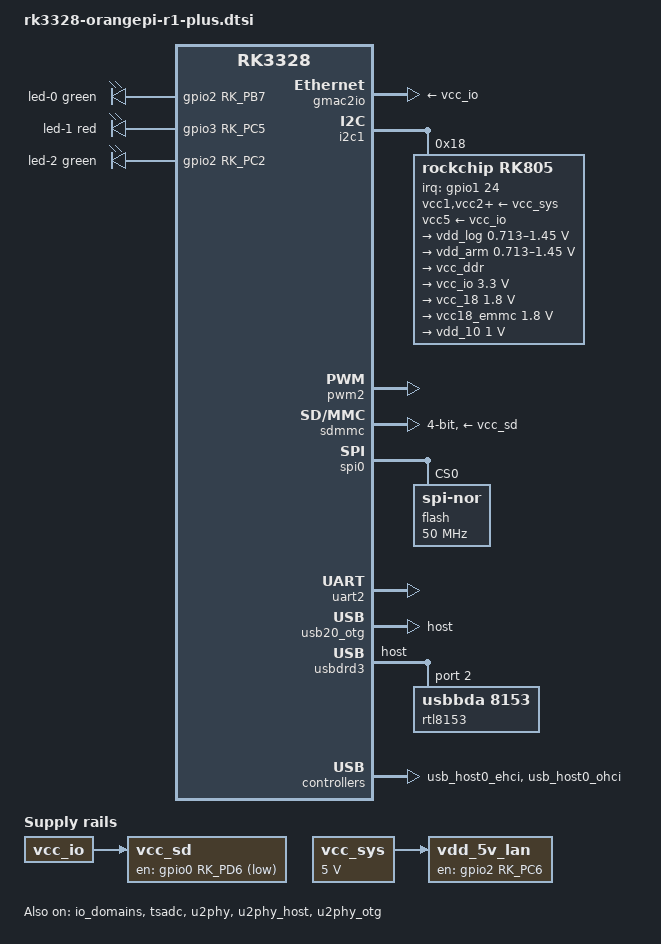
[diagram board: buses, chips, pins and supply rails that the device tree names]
// SPDX-License-Identifier: (GPL-2.0+ OR MIT)
/*
 * Based on rk3328-nanopi-r2s.dts, which is:
 *   Copyright (c) 2020 David Bauer <mail@david-bauer.net>
 */

/dts-v1/;

#include <dt-bindings/gpio/gpio.h>
#include <dt-bindings/leds/common.h>
#include "rk3328.dtsi"

/ {
	aliases {
		ethernet0 = &gmac2io;
		ethernet1 = &rtl8153;
		mmc0 = &sdmmc;
	};

	chosen {
		stdout-path = "serial2:1500000n8";
	};

	gmac_clk: gmac-clock {
		compatible = "fixed-clock";
		clock-frequency = <125000000>;
		clock-output-names = "gmac_clkin";
		#clock-cells = <0>;
	};

	leds {
		compatible = "gpio-leds";
		pinctrl-0 = <&lan_led_pin>, <&sys_led_pin>, <&wan_led_pin>;
		pinctrl-names = "default";

		led-0 {
			function = LED_FUNCTION_LAN;
			color = <LED_COLOR_ID_GREEN>;
			gpios = <&gpio2 RK_PB7 GPIO_ACTIVE_HIGH>;
		};

		led-1 {
			function = LED_FUNCTION_STATUS;
			color = <LED_COLOR_ID_RED>;
			gpios = <&gpio3 RK_PC5 GPIO_ACTIVE_HIGH>;
			linux,default-trigger = "heartbeat";
		};

		led-2 {
			function = LED_FUNCTION_WAN;
			color = <LED_COLOR_ID_GREEN>;
			gpios = <&gpio2 RK_PC2 GPIO_ACTIVE_HIGH>;
		};
	};

	vcc_sd: regulator-sdmmc {
		compatible = "regulator-fixed";
		gpio = <&gpio0 RK_PD6 GPIO_ACTIVE_LOW>;
		pinctrl-0 = <&sdmmc0m1_pin>;
		pinctrl-names = "default";
		regulator-name = "vcc_sd";
		regulator-boot-on;
		vin-supply = <&vcc_io>;
	};

	vcc_sys: regulator-vcc-sys {
		compatible = "regulator-fixed";
		regulator-name = "vcc_sys";
		regulator-always-on;
		regulator-boot-on;
		regulator-min-microvolt = <5000000>;
		regulator-max-microvolt = <5000000>;
	};

	vdd_5v_lan: regulator-vdd-5v-lan {
		compatible = "regulator-fixed";
		enable-active-high;
		gpio = <&gpio2 RK_PC6 GPIO_ACTIVE_HIGH>;
		pinctrl-0 = <&lan_vdd_pin>;
		pinctrl-names = "default";
		regulator-name = "vdd_5v_lan";
		regulator-always-on;
		regulator-boot-on;
		vin-supply = <&vcc_sys>;
	};
};

&cpu0 {
	cpu-supply = <&vdd_arm>;
};

&cpu1 {
	cpu-supply = <&vdd_arm>;
};

&cpu2 {
	cpu-supply = <&vdd_arm>;
};

&cpu3 {
	cpu-supply = <&vdd_arm>;
};

&display_subsystem {
	status = "disabled";
};

&gmac2io {
	assigned-clocks = <&cru SCLK_MAC2IO>, <&cru SCLK_MAC2IO_EXT>;
	assigned-clock-parents = <&gmac_clk>, <&gmac_clk>;
	clock_in_out = "input";
	phy-supply = <&vcc_io>;
	pinctrl-0 = <&rgmiim1_pins>;
	pinctrl-names = "default";

	mdio {
		compatible = "snps,dwmac-mdio";
		#address-cells = <1>;
		#size-cells = <0>;
	};
};

&i2c1 {
	status = "okay";

	rk805: pmic@18 {
		compatible = "rockchip,rk805";
		reg = <0x18>;
		interrupt-parent = <&gpio1>;
		interrupts = <24 IRQ_TYPE_LEVEL_LOW>;
		#clock-cells = <1>;
		clock-output-names = "xin32k", "rk805-clkout2";
		gpio-controller;
		#gpio-cells = <2>;
		pinctrl-0 = <&pmic_int_l>;
		pinctrl-names = "default";
		system-power-controller;
		wakeup-source;

		vcc1-supply = <&vcc_sys>;
		vcc2-supply = <&vcc_sys>;
		vcc3-supply = <&vcc_sys>;
		vcc4-supply = <&vcc_sys>;
		vcc5-supply = <&vcc_io>;
		vcc6-supply = <&vcc_sys>;

		regulators {
			vdd_log: DCDC_REG1 {
				regulator-name = "vdd_log";
				regulator-always-on;
				regulator-boot-on;
				regulator-min-microvolt = <712500>;
				regulator-max-microvolt = <1450000>;
				regulator-ramp-delay = <12500>;

				regulator-state-mem {
					regulator-on-in-suspend;
					regulator-suspend-microvolt = <1000000>;
				};
			};

			vdd_arm: DCDC_REG2 {
				regulator-name = "vdd_arm";
				regulator-always-on;
				regulator-boot-on;
				regulator-min-microvolt = <712500>;
				regulator-max-microvolt = <1450000>;
				regulator-ramp-delay = <12500>;

				regulator-state-mem {
					regulator-on-in-suspend;
					regulator-suspend-microvolt = <950000>;
				};
			};

			vcc_ddr: DCDC_REG3 {
				regulator-name = "vcc_ddr";
				regulator-always-on;
				regulator-boot-on;

				regulator-state-mem {
					regulator-on-in-suspend;
				};
			};

			vcc_io: DCDC_REG4 {
				regulator-name = "vcc_io";
				regulator-always-on;
				regulator-boot-on;
				regulator-min-microvolt = <3300000>;
				regulator-max-microvolt = <3300000>;

				regulator-state-mem {
					regulator-on-in-suspend;
					regulator-suspend-microvolt = <3300000>;
				};
			};

			vcc_18: LDO_REG1 {
				regulator-name = "vcc_18";
				regulator-always-on;
				regulator-boot-on;
				regulator-min-microvolt = <1800000>;
				regulator-max-microvolt = <1800000>;

				regulator-state-mem {
					regulator-on-in-suspend;
					regulator-suspend-microvolt = <1800000>;
				};
			};

			vcc18_emmc: LDO_REG2 {
				regulator-name = "vcc18_emmc";
				regulator-always-on;
				regulator-boot-on;
				regulator-min-microvolt = <1800000>;
				regulator-max-microvolt = <1800000>;

				regulator-state-mem {
					regulator-on-in-suspend;
					regulator-suspend-microvolt = <1800000>;
				};
			};

			vdd_10: LDO_REG3 {
				regulator-name = "vdd_10";
				regulator-always-on;
				regulator-boot-on;
				regulator-min-microvolt = <1000000>;
				regulator-max-microvolt = <1000000>;

				regulator-state-mem {
					regulator-on-in-suspend;
					regulator-suspend-microvolt = <1000000>;
				};
			};
		};
	};
};

&io_domains {
	pmuio-supply = <&vcc_io>;
	vccio1-supply = <&vcc_io>;
	vccio2-supply = <&vcc18_emmc>;
	vccio3-supply = <&vcc_io>;
	vccio4-supply = <&vcc_io>;
	vccio5-supply = <&vcc_io>;
	vccio6-supply = <&vcc_io>;
	status = "okay";
};

&pinctrl {
	gmac2io {
		eth_phy_reset_pin: eth-phy-reset-pin {
			rockchip,pins = <1 RK_PC2 RK_FUNC_GPIO &pcfg_pull_down>;
		};
	};

	leds {
		lan_led_pin: lan-led-pin {
			rockchip,pins = <2 RK_PB7 RK_FUNC_GPIO &pcfg_pull_none>;
		};

		sys_led_pin: sys-led-pin {
			rockchip,pins = <3 RK_PC5 RK_FUNC_GPIO &pcfg_pull_none>;
		};

		wan_led_pin: wan-led-pin {
			rockchip,pins = <2 RK_PC2 RK_FUNC_GPIO &pcfg_pull_none>;
		};
	};

	lan {
		lan_vdd_pin: lan-vdd-pin {
			rockchip,pins = <2 RK_PC6 RK_FUNC_GPIO &pcfg_pull_none>;
		};
	};

	pmic {
		pmic_int_l: pmic-int-l {
			rockchip,pins = <1 RK_PD0 RK_FUNC_GPIO &pcfg_pull_up>;
		};
	};
};

&pwm2 {
	status = "okay";
};

&sdmmc {
	bus-width = <4>;
	cap-sd-highspeed;
	disable-wp;
	pinctrl-0 = <&sdmmc0_clk>, <&sdmmc0_cmd>, <&sdmmc0_dectn>, <&sdmmc0_bus4>;
	pinctrl-names = "default";
	vmmc-supply = <&vcc_sd>;
	status = "okay";
};

&spi0 {
	status = "okay";

	flash@0 {
		compatible = "jedec,spi-nor";
		reg = <0>;
		spi-max-frequency = <50000000>;
	};
};

&tsadc {
	rockchip,hw-tshut-mode = <0>;
	rockchip,hw-tshut-polarity = <0>;
	status = "okay";
};

&u2phy {
	status = "okay";
};

&u2phy_host {
	status = "okay";
};

&u2phy_otg {
	status = "okay";
};

&uart2 {
	status = "okay";
};

&usb20_otg {
	dr_mode = "host";
	status = "okay";
};

&usbdrd3 {
	dr_mode = "host";
	status = "okay";
	#address-cells = <1>;
	#size-cells = <0>;

	/* Second port is for USB 3.0 */
	rtl8153: device@2 {
		compatible = "usbbda,8153";
		reg = <2>;
	};
};

&usb_host0_ehci {
	status = "okay";
};

&usb_host0_ohci {
	status = "okay";
};
